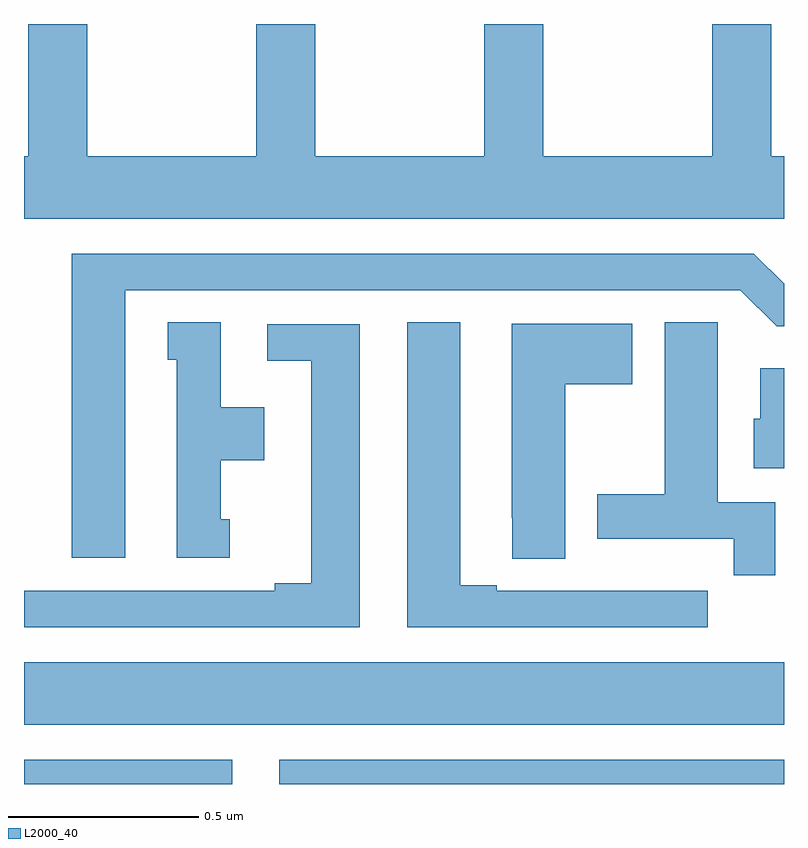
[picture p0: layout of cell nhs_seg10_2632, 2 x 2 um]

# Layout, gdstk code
import gdstk
lib = gdstk.Library(unit=1e-6, precision=1e-09)
def R(c, l, rs):  # rectangles x0, y0, x1, y1
    for r in rs: c.add(gdstk.rectangle(r[:2], r[2:], *l))
def P(c, l, *ps):  # polygons
    for p in ps: c.add(gdstk.Polygon(p, *l))
L2000_40 = (2000, 40)

nhs_seg10_2632 = lib.new_cell('nhs_seg10_2632')
R(nhs_seg10_2632, L2000_40, [(143,1293.5,143.548,1293.564), (143.672,1293.5,145,1293.564), (143,1293.656,145,1293.82)])
P(nhs_seg10_2632, L2000_40, [(145,1295.152),(144.966,1295.152),(144.966,1295.5),(144.811,1295.5),(144.811,1295.152),(144.366,1295.152),(144.366,1295.5),(144.211,1295.5),(144.211,1295.152),(143.766,1295.152),(143.766,1295.5),(143.611,1295.5),(143.611,1295.152),(143.166,1295.152),(143.166,1295.5),(143.011,1295.5),(143.011,1295.152),(143,1295.152),(143,1294.988),(145,1294.988)],
  [(143.266,1294.8),(144.885,1294.8),(144.981,1294.704),(145,1294.704),(145,1294.817),(144.921,1294.896),(143.126,1294.896),(143.126,1294.095),(143.266,1294.095)],
  [(143.542,1294.197),(143.518,1294.197),(143.518,1294.352),(143.632,1294.352),(143.632,1294.492),(143.518,1294.492),(143.518,1294.715),(143.378,1294.715),(143.378,1294.617),(143.402,1294.617),(143.402,1294.095),(143.542,1294.095)],
  [(144.977,1294.242),(144.826,1294.242),(144.826,1294.604),(144.825,1294.604),(144.825,1294.715),(144.686,1294.715),(144.686,1294.263),(144.509,1294.263),(144.509,1294.146),(144.868,1294.146),(144.868,1294.05),(144.977,1294.05)],
  [(144.799,1294.008),(144.686,1294.008),(144.686,1294.009),(144.52,1294.009),(144.52,1294.008),(144.244,1294.008),(144.244,1294.023),(144.148,1294.023),(144.148,1294.715),(144.008,1294.715),(144.008,1293.912),(144.799,1293.912)],
  [(144.424,1294.552),(144.601,1294.552),(144.601,1294.711),(144.284,1294.711),(144.284,1294.201),(144.285,1294.201),(144.285,1294.093),(144.424,1294.093)],
  [(143.884,1294.71),(143.64,1294.71),(143.64,1294.614),(143.756,1294.614),(143.756,1294.028),(143.66,1294.028),(143.66,1294.008),(143,1294.008),(143,1293.912),(143.884,1293.912)],
  [(145,1294.594),(144.938,1294.594),(144.938,1294.461),(144.92,1294.461),(144.92,1294.331),(145,1294.331)])

lib.write_gds('nhs_seg10_2632.gds')
